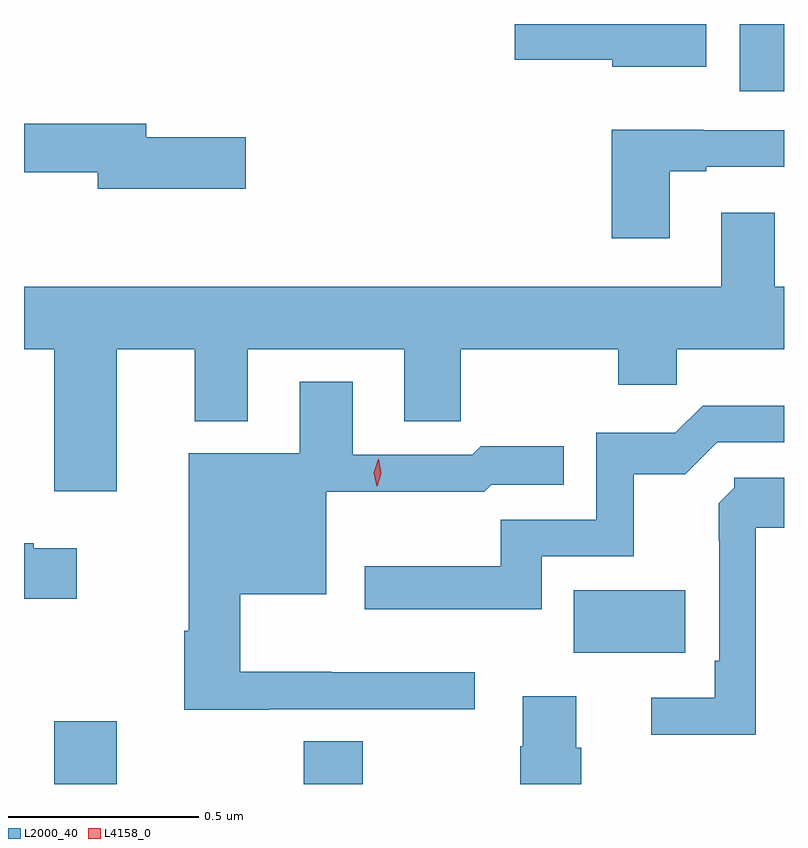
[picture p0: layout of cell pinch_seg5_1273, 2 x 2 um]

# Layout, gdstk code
import gdstk
lib = gdstk.Library(unit=1e-6, precision=1e-09)
def R(c, l, rs):  # rectangles x0, y0, x1, y1
    for r in rs: c.add(gdstk.rectangle(r[:2], r[2:], *l))
def P(c, l, *ps):  # polygons
    for p in ps: c.add(gdstk.Polygon(p, *l))
L2000_40 = (2000, 40)
L4158_0 = (4158, 0)

pinch_seg5_1273 = lib.new_cell('pinch_seg5_1273')
R(pinch_seg5_1273, L2000_40, [(440.732,891.58,440.896,891.745), (441.388,891.58,441.543,891.692), (442.099,891.926,442.392,892.09), (442.535,893.403,442.652,893.58)])
P(pinch_seg5_1273, L2000_40, [(442.447,893.58),(441.944,893.58),(441.944,893.486),(442.2,893.486),(442.2,893.468),(442.447,893.468)],
  [(441.235,893.282),(440.974,893.282),(440.974,893.318),(440.652,893.318),(440.652,893.19),(440.846,893.19),(440.846,893.147),(441.235,893.147)],
  [(442.351,893.193),(442.447,893.193),(442.447,893.205),(442.652,893.205),(442.652,893.301),(442.439,893.301),(442.439,893.302),(442.199,893.302),(442.199,893.016),(442.351,893.016)],
  [(440.896,892.724),(441.101,892.724),(441.101,892.535),(441.241,892.535),(441.241,892.724),(441.653,892.724),(441.653,892.534),(441.801,892.534),(441.801,892.724),(442.216,892.724),(442.216,892.631),(442.37,892.631),(442.37,892.724),(442.652,892.724),(442.652,892.888),(442.627,892.888),(442.627,893.083),(442.487,893.083),(442.487,892.888),(440.652,892.888),(440.652,892.724),(440.732,892.724),(440.732,892.35),(440.896,892.35)],
  [(441.299,891.777),(441.838,891.777),(441.838,891.874),(441.461,891.874),(441.461,891.875),(441.221,891.875),(441.221,892.079),(441.448,892.079),(441.448,892.349),(441.863,892.349),(441.882,892.368),(442.073,892.368),(442.073,892.469),(441.854,892.469),(441.831,892.446),(441.517,892.446),(441.517,892.639),(441.377,892.639),(441.377,892.45),(441.086,892.45),(441.086,891.983),(441.074,891.983),(441.074,891.775),(441.299,891.775)],
  [(442.014,892.179),(442.257,892.179),(442.257,892.395),(442.392,892.395),(442.476,892.479),(442.652,892.479),(442.652,892.576),(442.438,892.576),(442.366,892.504),(442.158,892.504),(442.158,892.275),(441.906,892.275),(441.906,892.153),(441.549,892.153),(441.549,892.04),(442.014,892.04)],
  [(442.578,892.254),(442.652,892.254),(442.652,892.386),(442.521,892.386),(442.521,892.36),(442.48,892.319),(442.48,892.22),(442.482,892.22),(442.482,891.904),(442.47,891.904),(442.47,891.807),(442.302,891.807),(442.302,891.71),(442.578,891.71)],
  [(440.791,892.201),(440.678,892.201),(440.678,892.214),(440.652,892.214),(440.652,892.067),(440.791,892.067)],
  [(442.118,891.675),(442.105,891.675),(442.105,891.811),(441.965,891.811),(441.965,891.68),(441.958,891.68),(441.958,891.58),(442.118,891.58)])
P(pinch_seg5_1273, L4158_0, [(441.58,892.363),(441.58,892.363),(441.572,892.399),(441.584,892.434),(441.584,892.434),(441.585,892.434),(441.592,892.398),(441.581,892.363)])

lib.write_gds('pinch_seg5_1273.gds')
